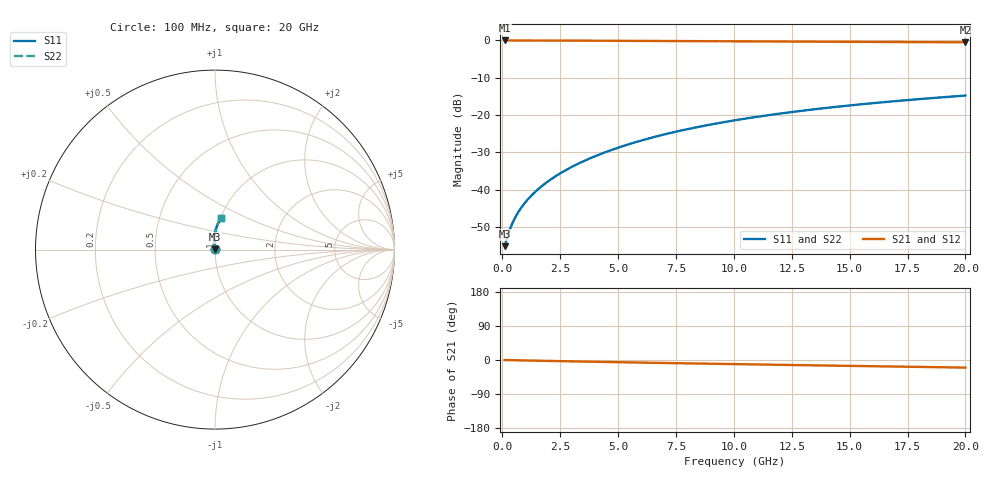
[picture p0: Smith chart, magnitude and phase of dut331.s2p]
! Touchstone file exported from HFSS 2024.1.0
!  File:  C:/UserFiles/LocalFiles/RDL_TSV_Batchsim/temp_RDL_top_331_1779607362.aedt
!  Generated:  03:25:07 PM May 24, 2026
!  Design:  RDL_top
!  Project:  temp_RDL_top_331_1779607362
!  Setup:  Setup1
!  Solution:  Sweep
! Variables:
!  dtsv = 10.80580581um
!  hbump = 3um
!  htsv = 57.59um
!  ldown = 100um
!  lrdl = 278.21um
!  p = 40
!  p1 = 50.23um
!  rhole = 1um
!  t = 450um
!  tdown = 3.915915916um
!  trdl = 2.72um
!  wdown = 15.38538539um
!  wrdl = 29.67um
# GHz S MA R 50.000000
! Terminal data exported
! Port[1] = Box2_T1
! Port[2] = Box2_T2
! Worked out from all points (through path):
!   200 points, 100 MHz to 20 GHz, reference 50 ohm
!   highest |S21| = -0.01 dB at 100 MHz (marker M1); lowest = -0.5 dB at 20 GHz (marker M2)
!   group delay of S21, straight-line fit = 2.74 ps
!   lowest |S11| = -55.2 dB at 100 MHz (marker M3), VSWR 1.00, Z = 50.2 + j0.0769 ohm
!   |S11| at or under -10 dB: start of sweep to end of sweep
!   |S22| runs from -55.2 to -14.8 dB; largest |S21 - S12| = 3.5e-15
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0.1  0.001739 26.1  0.9984 -0.1  0.9984 -0.1  0.001739 26.1
! Gamma 0 0 0 0
! Port Impedance 50 0 50 0
0.3  0.002771 51.8  0.9982 -0.4  0.9982 -0.4  0.002771 51.8
0.4  0.003337 57.7  0.9981 -0.5  0.9981 -0.5  0.003338 57.7
0.5  0.0039 62.1  0.998 -0.6  0.998 -0.6  0.0039 62.1
0.6  0.004462 65.5  0.9978 -0.8  0.9978 -0.8  0.004462 65.5
0.8  0.005595 70.8  0.9976 -1.0  0.9976 -1.0  0.005595 70.8
1  0.006757 74.8  0.9974 -1.2  0.9974 -1.2  0.006757 74.8
1.2  0.007951 77.9  0.9971 -1.5  0.9971 -1.5  0.007951 77.9
1.7  0.01107 83.4  0.9963 -2.1  0.9963 -2.1  0.01107 83.4
2.2  0.01439 87.0  0.9954 -2.7  0.9954 -2.7  0.01439 87.0
2.8  0.01862 90.0  0.994 -3.4  0.994 -3.4  0.01862 90.0
3.5  0.0239 92.2  0.9921 -4.2  0.9921 -4.2  0.0239 92.2
4.2  0.02954 93.6  0.99 -5.0  0.99 -5.0  0.02954 93.6
5  0.03637 94.4  0.9873 -5.8  0.9873 -5.8  0.03637 94.4
5.9  0.04448 94.7  0.9843 -6.8  0.9843 -6.8  0.04448 94.7
6.8  0.05292 94.4  0.9812 -7.7  0.9812 -7.7  0.05292 94.4
8.4  0.06849 93.1  0.9758 -9.3  0.9758 -9.3  0.06849 93.1
10.1  0.08544 91.3  0.9704 -11.0  0.9704 -11.0  0.08543 91.3
11.7  0.1015 89.3  0.9655 -12.5  0.9655 -12.5  0.1015 89.3
13.4  0.1184 87.1  0.9606 -14.1  0.9606 -14.1  0.1184 87.1
16.7  0.1507 82.9  0.9515 -17.1  0.9515 -17.1  0.1507 82.9
20  0.182 78.9  0.9426 -20.1  0.9426 -20.1  0.182 78.9
